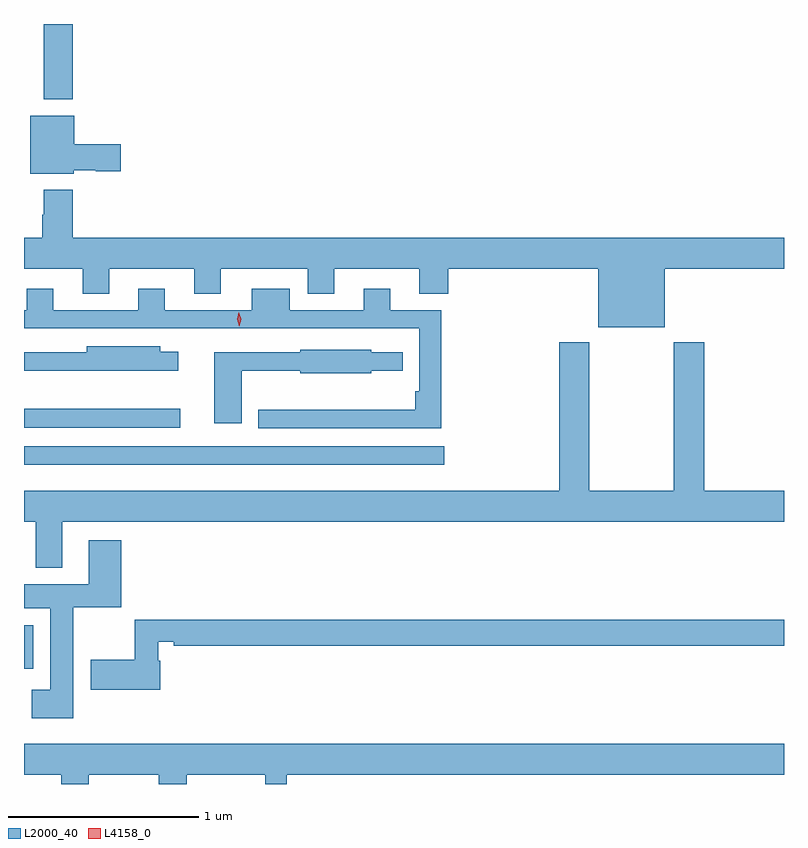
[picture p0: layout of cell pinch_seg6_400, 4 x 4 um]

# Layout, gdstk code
import gdstk
lib = gdstk.Library(unit=1e-6, precision=1e-09)
def R(c, l, rs):  # rectangles x0, y0, x1, y1
    for r in rs: c.add(gdstk.rectangle(r[:2], r[2:], *l))
def P(c, l, *ps):  # polygons
    for p in ps: c.add(gdstk.Polygon(p, *l))
L2000_40 = (2000, 40)
L4158_0 = (4158, 0)

pinch_seg6_400 = lib.new_cell('pinch_seg6_400')
R(pinch_seg6_400, L2000_40, [(687.369,926.582,687.418,926.812), (687.369,927.656,689.581,927.753), (687.369,927.852,688.192,927.95), (687.473,929.579,687.626,929.976)])
P(pinch_seg6_400, L2000_40, [(687.63,929.207),(687.747,929.207),(687.747,929.2),(687.877,929.2),(687.877,929.342),(687.634,929.342),(687.634,929.494),(687.401,929.494),(687.401,929.189),(687.63,929.189)],
  [(690.742,928.688),(691.369,928.688),(691.369,928.852),(687.626,928.852),(687.626,929.104),(687.473,929.104),(687.473,928.973),(687.466,928.973),(687.466,928.852),(687.369,928.852),(687.369,928.688),(687.677,928.688),(687.677,928.555),(687.817,928.555),(687.817,928.688),(688.265,928.688),(688.265,928.555),(688.405,928.555),(688.405,928.688),(688.862,928.688),(688.862,928.555),(689.002,928.555),(689.002,928.688),(689.45,928.688),(689.45,928.555),(689.603,928.555),(689.603,928.688),(690.392,928.688),(690.392,928.379),(690.742,928.379)],
  [(689.564,928.47),(689.296,928.47),(689.296,928.582),(689.156,928.582),(689.156,928.47),(688.768,928.47),(688.768,928.582),(688.568,928.582),(688.568,928.47),(688.111,928.47),(688.111,928.582),(687.971,928.582),(687.971,928.47),(687.523,928.47),(687.523,928.582),(687.383,928.582),(687.383,928.47),(687.369,928.47),(687.369,928.374),(689.448,928.374),(689.448,928.042),(689.428,928.042),(689.428,927.947),(688.601,927.947),(688.601,927.849),(689.564,927.849)],
  [(687.571,927.356),(691.369,927.356),(691.369,927.52),(690.95,927.52),(690.95,928.3),(690.79,928.3),(690.79,927.52),(690.345,927.52),(690.345,928.3),(690.185,928.3),(690.185,927.52),(687.369,927.52),(687.369,927.356),(687.431,927.356),(687.431,927.113),(687.571,927.113)],
  [(688.18,928.252),(688.086,928.252),(688.086,928.279),(687.698,928.279),(687.698,928.248),(687.369,928.248),(687.369,928.151),(688.18,928.151)],
  [(688.516,928.151),(688.824,928.151),(688.824,928.139),(689.196,928.139),(689.196,928.151),(689.363,928.151),(689.363,928.248),(689.196,928.248),(689.196,928.261),(688.824,928.261),(688.824,928.248),(688.37,928.248),(688.37,927.876),(688.516,927.876)],
  [(687.628,926.906),(687.881,926.906),(687.881,927.259),(687.71,927.259),(687.71,927.028),(687.369,927.028),(687.369,926.9),(687.506,926.9),(687.506,926.473),(687.411,926.473),(687.411,926.321),(687.628,926.321)],
  [(688.087,926.625),(688.075,926.625),(688.075,926.724),(688.156,926.724),(688.156,926.704),(691.369,926.704),(691.369,926.84),(687.951,926.84),(687.951,926.629),(687.72,926.629),(687.72,926.471),(688.087,926.471)],
  [(687.711,926.024),(688.078,926.024),(688.078,925.976),(688.225,925.976),(688.225,926.024),(688.639,926.024),(688.639,925.976),(688.753,925.976),(688.753,926.024),(691.369,926.024),(691.369,926.188),(687.369,926.188),(687.369,926.024),(687.564,926.024),(687.564,925.976),(687.711,925.976)])
P(pinch_seg6_400, L4158_0, [(688.503,928.386),(688.503,928.386),(688.492,928.422),(688.5,928.458),(688.5,928.458),(688.5,928.458),(688.512,928.422),(688.503,928.386)])

lib.write_gds('pinch_seg6_400.gds')
